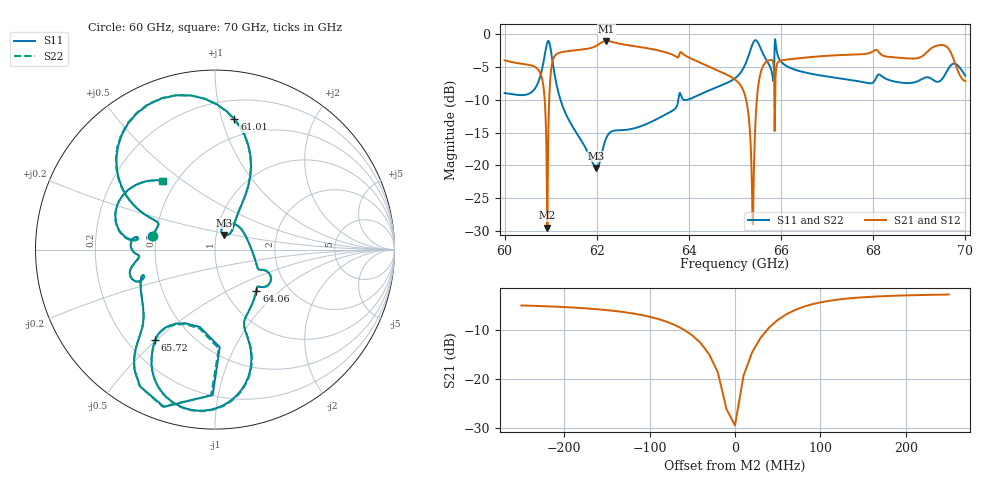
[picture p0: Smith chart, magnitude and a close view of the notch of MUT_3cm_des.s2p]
! TOUCHSTONE file generated by CST MICROWAVE STUDIO
! Date and time: Wed Feb 21 23:45:52 2024
! Project name: material_desal.cst
! Header version: 2018
! Port assignment regex: !\s*Touchstone port\s*([0-9]+)\s*=\s*(CST MWS port|CST DS port)\s*([0-9]+|Zmin|Zmax)\s*\(\"(.*)\"\)(\s*mode\s*([0-9]+))?.*
! Touchstone port assignment:
! Touchstone port 1 = CST MWS port 1 ("")
! Touchstone port 2 = CST MWS port 2 ("")
# GHz S MA R 376.7
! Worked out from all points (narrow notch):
!   1001 points, 60 GHz to 70 GHz, reference 376.7 ohm
!   highest |S21| = -0.98 dB at 62.21 GHz (marker M1); lowest = -29.5 dB at 60.93 GHz (marker M2)
!   notch at M2: 26.1 dB deep, 42.4 MHz wide at half that depth
!   lowest |S11| = -20.4 dB at 61.99 GHz (marker M3), VSWR 1.21, Z = 410 + j67.6 ohm
!   |S11| at or under -10 dB: 61.21 GHz to 63.77 GHz (2.558 GHz wide, 4.09 % of centre); 63.89565 GHz to 63.95344 GHz (57.79 MHz wide, 0.0904 % of centre)
!   |S22| runs from -20.3 to -0.7 dB; largest |S21 - S12| = 0.0034
!   S11 on the Smith chart (normalised r, x): 60 GHz: 0.48, +0.08; 61.01 GHz: 0.35, +1.10; 64.06 GHz: 1.38, -0.71; 65.72 GHz: 0.31, -0.50; 70 GHz: 0.42, +0.42
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60  0.3566 168.1  0.6342 109.7  0.6342 109.6  0.3558 168.1
60.75  0.4508 153.2  0.5263 97.6  0.5264 97.5  0.4489 153.2
60.93  0.8751 119.9  0.03346 -102.0  0.03383 -103.6  0.8779 119.9
61.01  0.7353 81.5  0.5417 179.1  0.5416 179.0  0.7339 81.6
61.2  0.3272 60.3  0.7262 141.5  0.7263 141.5  0.3283 60.4
61.67  0.1534 49.7  0.766 126.9  0.7661 126.9  0.1541 49.8
61.99  0.09543 58.9  0.8183 124.3  0.8175 124.3  0.09627 59.0
62.21  0.163 64.3  0.8928 117.2  0.8927 117.3  0.1632 64.3
63.34  0.2292 -13.6  0.7542 97.3  0.754 97.3  0.2288 -13.5
64.06  0.3259 -45.0  0.6512 88.6  0.6512 88.6  0.3252 -45.0
65  0.4624 -69.3  0.4524 82.4  0.452 82.4  0.4613 -69.2
65.25  0.6227 -71.1  0.3075 68.6  0.3066 68.6  0.6227 -70.8
65.38  0.8418 -83.6  0.0378 93.5  0.03806 93.6  0.8433 -83.3
65.52  0.8364 -111.6  0.4415 164.1  0.4425 164.0  0.8391 -111.4
65.72  0.6059 -123.4  0.6307 129.7  0.6286 129.9  0.6088 -123.3
65.82  0.4676 -118.0  0.6282 111.9  0.628 111.9  0.4714 -117.6
65.93  0.6874 -129.3  0.6111 132.0  0.6106 132.0  0.6862 -129.4
66.67  0.4994 -144.2  0.6729 112.5  0.6733 112.5  0.499 -144.1
68.34  0.4488 -171.2  0.674 94.9  0.6741 95.0  0.4475 -170.9
69.49  0.4545 173.1  0.8299 83.8  0.8297 83.8  0.4537 173.7
69.72  0.5943 158.0  0.6816 66.5  0.6818 66.5  0.5946 158.4
70  0.4832 127.2  0.4397 80.9  0.4398 80.9  0.4826 127.4
